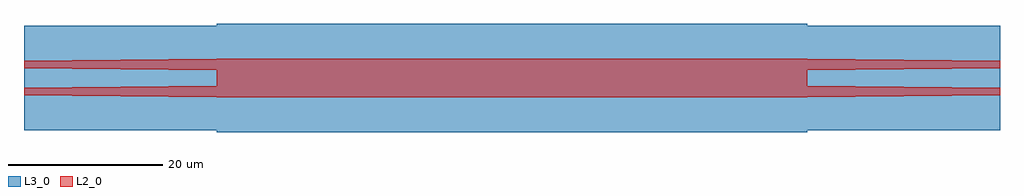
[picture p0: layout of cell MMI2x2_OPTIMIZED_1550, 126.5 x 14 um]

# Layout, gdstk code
import gdstk
lib = gdstk.Library(unit=1e-6, precision=1e-09)
def R(c, l, rs):  # rectangles x0, y0, x1, y1
    for r in rs: c.add(gdstk.rectangle(r[:2], r[2:], *l))
def P(c, l, *ps):  # polygons
    for p in ps: c.add(gdstk.Polygon(p, *l))
L2_0 = (2, 0)
L3_0 = (3, 0)

mmi2x2_optimized_1550 = lib.new_cell('MMI2x2_OPTIMIZED_1550')
R(mmi2x2_optimized_1550, L2_0, [(0,-2.5,76.5,2.5)])
P(mmi2x2_optimized_1550, L2_0, [(-25,1.25),(-25,2.25),(0,2.5),(0,1)],
  [(-25,-2.25),(-25,-1.25),(0,-1),(0,-2.5)],
  [(76.5,1),(76.5,2.5),(101.5,2.25),(101.5,1.25)],
  [(76.5,-2.5),(76.5,-1),(101.5,-1.25),(101.5,-2.25)])
R(mmi2x2_optimized_1550, L3_0, [(0,-7,76.5,7), (-25,-6.75,0,6.75), (76.5,-6.75,101.5,6.75)])

lib.write_gds('MMI2x2_OPTIMIZED_1550.gds')
